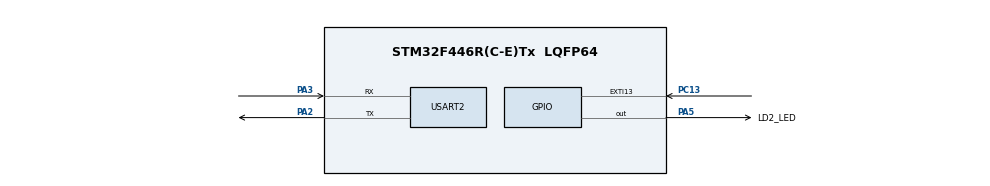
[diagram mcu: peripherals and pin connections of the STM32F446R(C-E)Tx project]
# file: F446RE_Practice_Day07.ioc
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IWDG.Prescaler=IWDG_PRESCALER_32
Mcu.Family=STM32F4
Mcu.Name=STM32F446R(C-E)Tx
Mcu.Package=LQFP64
NVIC.EXTI15_10_IRQn=true\:0\:0\:false\:false\:true\:true\:true\:true
NVIC.PriorityGroup=NVIC_PRIORITYGROUP_4
PA13.Mode=Serial_Wire
PA13.Signal=SYS_JTMS-SWDIO
PA14.Mode=Serial_Wire
PA14.Signal=SYS_JTCK-SWCLK
PA2.Mode=Asynchronous
PA2.Signal=USART2_TX
PA3.Mode=Asynchronous
PA3.Signal=USART2_RX
PA5.GPIO_Label=LD2_LED
PA5.Signal=GPIO_Output
PC13.Signal=GPXTI13
ProjectManager.HeapSize=0x200
ProjectManager.StackSize=0x400
ProjectManager.TargetToolchain=STM32CubeIDE
RCC.CortexFreq_Value=16000000
RCC.USBFreq_Value=96000000
RCC.VCOOutputFreq_Value=192000000
USART2.VirtualMode=VM_ASYNC
VP_IWDG_VS_IWDG.Mode=IWDG_Activate
board=custom

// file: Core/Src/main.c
/* USER CODE BEGIN Header */
/**
  ******************************************************************************
  * @file           : main.c
  * @brief          : Main program body
  ******************************************************************************
  * @attention
  *
  * Copyright (c) 2026 STMicroelectronics.
  * All rights reserved.
  *
  * This software is licensed under terms that can be found in the LICENSE file
  * in the root directory of this software component.
  * If no LICENSE file comes with this software, it is provided AS-IS.
  *
  ******************************************************************************
  */
/* USER CODE END Header */
#include "main.h"

/* USER CODE BEGIN Includes */

#include <stdbool.h>

/* USER CODE END Includes */

IWDG_HandleTypeDef hiwdg;

UART_HandleTypeDef huart2;

/* USER CODE BEGIN PV */

volatile bool fault_injected = false;

volatile bool iwdg_reset_detected = false;
volatile uint32_t watchdog_feed_count = 0;
volatile uint32_t reset_reason_raw = 0;

/* USER CODE END PV */

void SystemClock_Config(void);
static void MX_GPIO_Init(void);
static void MX_IWDG_Init(void);
static void MX_USART2_UART_Init(void);

int main(void)
{

  /* MCU Configuration--------------------------------------------------------*/

  /* Reset of all peripherals, Initializes the Flash interface and the Systick. */
  HAL_Init();

  /* USER CODE BEGIN Init */

  reset_reason_raw = RCC->CSR;

  if (__HAL_RCC_GET_FLAG(RCC_FLAG_IWDGRST) != RESET)
  {
      iwdg_reset_detected = true;
  }

  __HAL_RCC_CLEAR_RESET_FLAGS();

  /* USER CODE END Init */

  /* Configure the system clock */
  SystemClock_Config();

  /* Initialize all configured peripherals */
  MX_GPIO_Init();
  MX_IWDG_Init();
  MX_USART2_UART_Init();
  /* USER CODE BEGIN 2 */

  uint32_t led_tick = HAL_GetTick();
  uint32_t watchdog_tick = HAL_GetTick();

  uint32_t startup_pattern_end =
      HAL_GetTick() + 2000U;

  /* USER CODE END 2 */

  /* Infinite loop */
  while (1)
  {

    /* USER CODE BEGIN 3 */

	  uint32_t now = HAL_GetTick();

	  /*
	   * 若上一次是 IWDG Reset：
	   * 開機前兩秒快速閃爍。
	   */
	  if (iwdg_reset_detected &&
		  ((int32_t)(now - startup_pattern_end) < 0))
	  {
		  if ((uint32_t)(now - led_tick) >= 100U)
		  {
			  led_tick += 100U;

			  HAL_GPIO_TogglePin(
				  GPIOA,
				  GPIO_PIN_5);
		  }
	  }
	  else
	  {
		  /*
		   * 正常 Heartbeat：每 500 ms 切換一次。
		   */
		  if ((uint32_t)(now - led_tick) >= 500U)
		  {
			  led_tick += 500U;

			  HAL_GPIO_TogglePin(
				  GPIOA,
				  GPIO_PIN_5);
		  }
	  }

	  /*
	   * 每 500 ms Refresh 一次 Watchdog。
	   * 發生故障模擬後停止 Refresh。
	   */
	  if (!fault_injected &&
		  ((uint32_t)(now - watchdog_tick) >= 500U))
	  {
		  watchdog_tick += 500U;

		  if (HAL_IWDG_Refresh(&hiwdg) == HAL_OK)
		  {
			  watchdog_feed_count++;
		  }
	  }

  }
  /* USER CODE END 3 */
}

void SystemClock_Config(void)
{
  RCC_OscInitTypeDef RCC_OscInitStruct = {0};
  RCC_ClkInitTypeDef RCC_ClkInitStruct = {0};

  /** Configure the main internal regulator output voltage
  */
  __HAL_RCC_PWR_CLK_ENABLE();
  __HAL_PWR_VOLTAGESCALING_CONFIG(PWR_REGULATOR_VOLTAGE_SCALE3);

  /** Initializes the RCC Oscillators according to the specified parameters
  * in the RCC_OscInitTypeDef structure.
  */
  RCC_OscInitStruct.OscillatorType = RCC_OSCILLATORTYPE_HSI|RCC_OSCILLATORTYPE_LSI;
  RCC_OscInitStruct.HSIState = RCC_HSI_ON;
  RCC_OscInitStruct.HSICalibrationValue = RCC_HSICALIBRATION_DEFAULT;
  RCC_OscInitStruct.LSIState = RCC_LSI_ON;
  RCC_OscInitStruct.PLL.PLLState = RCC_PLL_NONE;
  if (HAL_RCC_OscConfig(&RCC_OscInitStruct) != HAL_OK)
  {
    Error_Handler();
  }

  /** Initializes the CPU, AHB and APB buses clocks
  */
  RCC_ClkInitStruct.ClockType = RCC_CLOCKTYPE_HCLK|RCC_CLOCKTYPE_SYSCLK
                              |RCC_CLOCKTYPE_PCLK1|RCC_CLOCKTYPE_PCLK2;
  RCC_ClkInitStruct.SYSCLKSource = RCC_SYSCLKSOURCE_HSI;
  RCC_ClkInitStruct.AHBCLKDivider = RCC_SYSCLK_DIV1;
  RCC_ClkInitStruct.APB1CLKDivider = RCC_HCLK_DIV1;
  RCC_ClkInitStruct.APB2CLKDivider = RCC_HCLK_DIV1;

  if (HAL_RCC_ClockConfig(&RCC_ClkInitStruct, FLASH_LATENCY_0) != HAL_OK)
  {
    Error_Handler();
  }
}

static void MX_IWDG_Init(void)
{

  hiwdg.Instance = IWDG;
  hiwdg.Init.Prescaler = IWDG_PRESCALER_32;
  hiwdg.Init.Reload = 4095;
  if (HAL_IWDG_Init(&hiwdg) != HAL_OK)
  {
    Error_Handler();
  }

}

static void MX_USART2_UART_Init(void)
{

  huart2.Instance = USART2;
  huart2.Init.BaudRate = 115200;
  huart2.Init.WordLength = UART_WORDLENGTH_8B;
  huart2.Init.StopBits = UART_STOPBITS_1;
  huart2.Init.Parity = UART_PARITY_NONE;
  huart2.Init.Mode = UART_MODE_TX_RX;
  huart2.Init.HwFlowCtl = UART_HWCONTROL_NONE;
  huart2.Init.OverSampling = UART_OVERSAMPLING_16;
  if (HAL_UART_Init(&huart2) != HAL_OK)
  {
    Error_Handler();
  }

}

static void MX_GPIO_Init(void)
{
  GPIO_InitTypeDef GPIO_InitStruct = {0};

  /* GPIO Ports Clock Enable */
  __HAL_RCC_GPIOC_CLK_ENABLE();
  __HAL_RCC_GPIOA_CLK_ENABLE();

  /*Configure GPIO pin Output Level */
  HAL_GPIO_WritePin(LD2_LED_GPIO_Port, LD2_LED_Pin, GPIO_PIN_RESET);

  /*Configure GPIO pin : PC13 */
  GPIO_InitStruct.Pin = GPIO_PIN_13;
  GPIO_InitStruct.Mode = GPIO_MODE_IT_RISING;
  GPIO_InitStruct.Pull = GPIO_NOPULL;
  HAL_GPIO_Init(GPIOC, &GPIO_InitStruct);

  /*Configure GPIO pin : LD2_LED_Pin */
  GPIO_InitStruct.Pin = LD2_LED_Pin;
  GPIO_InitStruct.Mode = GPIO_MODE_OUTPUT_PP;
  GPIO_InitStruct.Pull = GPIO_NOPULL;
  GPIO_InitStruct.Speed = GPIO_SPEED_FREQ_LOW;
  HAL_GPIO_Init(LD2_LED_GPIO_Port, &GPIO_InitStruct);

  /* EXTI interrupt init*/
  HAL_NVIC_SetPriority(EXTI15_10_IRQn, 0, 0);
  HAL_NVIC_EnableIRQ(EXTI15_10_IRQn);

}

/* USER CODE BEGIN 4 */

void HAL_GPIO_EXTI_Callback(uint16_t GPIO_Pin)
{
    if (GPIO_Pin == GPIO_PIN_13)
    {
        /*
         * 模擬系統失去健康狀態。
         * 主迴圈仍執行，但停止 Refresh Watchdog。
         */
        fault_injected = true;
    }
}

/* USER CODE END 4 */

void Error_Handler(void)
{
  __disable_irq();
  while (1)
  {
  }
}
